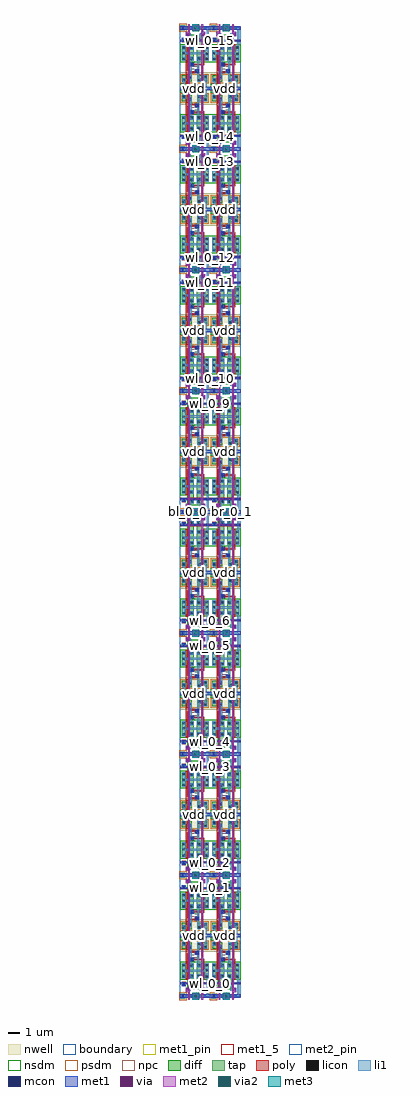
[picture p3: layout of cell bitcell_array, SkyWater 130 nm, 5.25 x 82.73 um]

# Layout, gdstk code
import gdstk
lib = gdstk.Library(unit=1e-6, precision=1e-09)
def R(c, l, rs):  # rectangles x0, y0, x1, y1
    for r in rs: c.add(gdstk.rectangle(r[:2], r[2:], *l))
nwell = (64, 20)
diff = (65, 20)
tap = (65, 44)
poly = (66, 20)
licon = (66, 44)
li1 = (67, 20)
mcon = (67, 44)
met1_5 = (68, 5)
met1_pin = (68, 16)
met1 = (68, 20)
via = (68, 44)
met2_pin = (69, 16)
met2 = (69, 20)
via2 = (69, 44)
met3 = (70, 20)
nsdm = (93, 44)
psdm = (94, 20)
npc = (95, 20)
boundary = (235, 4)

cell_1rw = lib.new_cell('cell_1rw')
R(cell_1rw, nwell, [(0,3.76,2.6,5.58)])
R(cell_1rw, diff, [(0.76,0.7,1.18,1.53), (1.45,0.7,1.87,1.53), (0.18,1.53,1.18,2.79), (1.45,1.53,2.45,2.79), (0.18,4.04,1.03,4.59), (1.51,4.04,2.36,4.59)])
R(cell_1rw, tap, [(0.07,-0.2,0.48,0.21), (0.18,4.86,0.71,5.39)])
R(cell_1rw, poly, [(0.18,0.86,0.51,1.04), (0,1.04,2.6,1.19), (0.53,1.4,0.68,3.68), (1.95,1.4,2.1,3.03), (0.9,2.96,1.23,3.03), (0.9,3.03,2.1,3.18), (0.9,3.18,1.23,3.29), (1.86,3.18,2.01,4.72), (1.32,3.5,1.65,3.68), (0.53,3.68,1.65,3.83), (0.53,3.83,0.68,4.72)])
R(cell_1rw, licon, [(0.19,-0.08,0.36,0.09), (0.93,0.77,1.1,0.94), (1.53,0.78,1.7,0.95), (0.26,0.94,0.43,1.11), (0.26,1.61,0.43,1.78), (0.93,1.61,1.1,1.78), (1.53,1.61,1.7,1.78), (2.2,1.61,2.37,1.78), (0.26,2.09,0.43,2.26), (2.2,2.12,2.37,2.29), (0.26,2.54,0.43,2.71), (0.93,2.54,1.1,2.71), (1.53,2.54,1.7,2.71), (2.2,2.54,2.37,2.71), (0.98,3.04,1.15,3.21), (1.4,3.58,1.57,3.75), (0.78,4.12,0.95,4.29), (2.11,4.12,2.28,4.29), (0.26,4.34,0.43,4.51), (1.59,4.34,1.76,4.51), (0.36,5.04,0.53,5.21)])
R(cell_1rw, li1, [(0.11,-0.16,0.44,-0.08), (0,-0.08,2.6,0.09), (0.11,0.09,0.44,0.17), (2.28,0.09,2.45,1.53), (0.6,0.44,0.94,0.61), (1.7,0.44,2.1,0.61), (0.77,0.61,0.94,0.7), (1.7,0.61,1.87,0.7), (0.77,0.7,1.18,1.02), (1.45,0.7,1.87,1.03), (0.18,0.86,0.51,1.19), (0.18,1.53,0.51,2.08), (0.85,1.53,1.18,1.86), (1.45,1.53,1.78,1.86), (2.12,1.53,2.45,2.08), (0.18,2.08,2.45,2.25), (0.18,2.25,0.51,2.79), (2.12,2.25,2.45,2.79), (0.85,2.46,1.18,2.79), (1.45,2.46,1.78,2.79), (0.85,2.79,1.02,2.96), (1.51,2.79,1.68,3.5), (0.85,2.96,1.23,3.29), (0.85,3.29,1.02,4.04), (1.32,3.5,1.68,3.83), (1.51,3.83,1.68,4.26), (0.7,4.04,1.03,4.37), (2.03,4.04,2.36,4.37), (0.18,4.26,0.51,4.59), (1.51,4.26,1.84,4.59), (2.11,4.37,2.28,5.04), (0.28,4.59,0.45,4.96), (0.28,4.96,0.61,5.04), (0,5.04,2.6,5.21), (0.28,5.21,0.61,5.29)])
R(cell_1rw, mcon, [(0.19,-0.08,0.36,0.09), (1.27,-0.08,1.44,0.09), (0.6,0.44,0.77,0.61), (1.93,0.44,2.1,0.61), (0.26,0.94,0.43,1.11), (0.98,3.04,1.15,3.21), (1.4,3.58,1.57,3.75), (0.36,5.04,0.53,5.21), (1.27,5.04,1.44,5.21)])
R(cell_1rw, met1_5, [(1.02,3.08,1.13,3.19), (1.43,3.61,1.54,3.72)])
R(cell_1rw, met1_pin, [(0.22,-0.04,0.35,0.07), (0.28,0.96,0.41,1.07), (0.38,5.09,0.51,5.2)])
R(cell_1rw, met1, [(0,-0.14,2.6,0.15), (0,-0.14,2.6,0.15), (0.51,0.35,0.86,0.7), (1.84,0.35,2.19,0.7), (0.18,0.86,0.51,1.01), (0.2,1.01,0.49,1.17), (0.2,1.01,0.49,1.17), (0.92,2.98,1.21,3.27), (1.34,3.52,1.63,3.81), (0,4.98,2.6,5.27), (0,4.98,2.6,5.27)])
R(cell_1rw, via, [(1.275,-0.065,1.425,0.085), (0.61,0.45,0.76,0.6), (1.94,0.45,2.09,0.6), (1.275,5.055,1.425,5.205)])
R(cell_1rw, met2_pin, [(0.74,0.2,0.83,0.31), (1.87,0.21,1.96,0.32)])
R(cell_1rw, met2, [(0.72,-0.3,0.86,0.35), (0.72,-0.3,0.86,0.35), (1.84,-0.3,1.98,0.35), (1.84,-0.3,1.98,0.35), (1.13,-0.21,1.56,0.22), (0.51,0.35,0.86,0.7), (1.84,0.35,2.19,0.7), (0.72,0.7,0.86,5.58), (1.84,0.7,1.98,5.6), (1.13,4.91,1.56,5.34)])
R(cell_1rw, via2, [(1.245,-0.095,1.445,0.105), (1.245,5.025,1.445,5.225)])
R(cell_1rw, met3, [(1.05,-0.3,1.65,0.3), (1.05,4.82,1.65,5.42)])
R(cell_1rw, nsdm, [(0.635,0.575,1.995,1.405), (0.055,1.405,2.575,2.915), (0.055,4.735,0.835,5.515)])
R(cell_1rw, psdm, [(-0.055,-0.325,0.605,0.335), (0.055,3.915,2.485,4.715)])
R(cell_1rw, npc, [(0.16,0.84,0.53,1.21), (0.88,2.94,1.25,3.26), (0.88,3.26,1.57,3.31), (0.98,3.31,1.57,3.48), (0.98,3.48,1.67,3.53), (1.3,3.53,1.67,3.85)])
R(cell_1rw, boundary, [(0,0,2.6,5.13)])
cell_1rw.add(gdstk.Label('Q_bar', (1.485,3.665), layer=68, texttype=5))
cell_1rw.add(gdstk.Label('Q', (1.075,3.135), layer=68, texttype=5))
cell_1rw.add(gdstk.Label('bl', (0.785,0.255), layer=69, texttype=16))
cell_1rw.add(gdstk.Label('br', (1.915,0.265), layer=69, texttype=16))
cell_1rw.add(gdstk.Label('wl', (0.345,1.015), layer=68, texttype=16))
cell_1rw.add(gdstk.Label('vdd', (0.445,5.145), layer=68, texttype=16))
cell_1rw.add(gdstk.Label('gnd', (0.285,0.015), layer=68, texttype=16))
cell_1rw.add(gdstk.Label('bl', (0.79,0.025), layer=69, texttype=20))
cell_1rw.add(gdstk.Label('br', (1.91,0.025), layer=69, texttype=20))
cell_1rw.add(gdstk.Label('wl', (0.345,1.09), layer=68, texttype=20))
cell_1rw.add(gdstk.Label('vdd', (1.3,5.125), layer=68, texttype=20))
cell_1rw.add(gdstk.Label('gnd', (1.3,0.005), layer=68, texttype=20))

bitcell_array = lib.new_cell('bitcell_array')
R(bitcell_array, met1, [(0,-0.14,2.6,0.15), (2.6,-0.14,5.2,0.15), (0,1.01,5.2,1.17), (0,4.98,2.6,5.27), (2.6,4.98,5.2,5.27), (0,4.99,2.6,5.28), (2.6,4.99,5.2,5.28), (0,9.09,5.2,9.25), (0,10.11,2.6,10.4), (2.6,10.11,5.2,10.4), (0,10.12,2.6,10.41), (2.6,10.12,5.2,10.41), (0,11.27,5.2,11.43), (0,15.24,2.6,15.53), (2.6,15.24,5.2,15.53), (0,15.25,2.6,15.54), (2.6,15.25,5.2,15.54), (0,19.35,5.2,19.51), (0,20.37,2.6,20.66), (2.6,20.37,5.2,20.66), (0,20.38,2.6,20.67), (2.6,20.38,5.2,20.67), (0,21.53,5.2,21.69), (0,25.5,2.6,25.79), (2.6,25.5,5.2,25.79), (0,25.51,2.6,25.8), (2.6,25.51,5.2,25.8), (0,29.61,5.2,29.77), (0,30.63,2.6,30.92), (2.6,30.63,5.2,30.92), (0,30.64,2.6,30.93), (2.6,30.64,5.2,30.93), (0,31.79,5.2,31.95), (0,35.76,2.6,36.05), (2.6,35.76,5.2,36.05), (0,35.77,2.6,36.06), (2.6,35.77,5.2,36.06), (0,39.87,5.2,40.03), (0,40.89,2.6,41.18), (2.6,40.89,5.2,41.18), (0,40.9,2.6,41.19), (2.6,40.9,5.2,41.19), (0,42.05,5.2,42.21), (0,46.02,2.6,46.31), (2.6,46.02,5.2,46.31), (0,46.03,2.6,46.32), (2.6,46.03,5.2,46.32), (0,50.13,5.2,50.29), (0,51.15,2.6,51.44), (2.6,51.15,5.2,51.44), (0,51.16,2.6,51.45), (2.6,51.16,5.2,51.45), (0,52.31,5.2,52.47), (0,56.28,2.6,56.57), (2.6,56.28,5.2,56.57), (0,56.29,2.6,56.58), (2.6,56.29,5.2,56.58), (0,60.39,5.2,60.55), (0,61.41,2.6,61.7), (2.6,61.41,5.2,61.7), (0,61.42,2.6,61.71), (2.6,61.42,5.2,61.71), (0,62.57,5.2,62.73), (0,66.54,2.6,66.83), (2.6,66.54,5.2,66.83), (0,66.55,2.6,66.84), (2.6,66.55,5.2,66.84), (0,70.65,5.2,70.81), (0,71.67,2.6,71.96), (2.6,71.67,5.2,71.96), (0,71.68,2.6,71.97), (2.6,71.68,5.2,71.97), (0,72.83,5.2,72.99), (0,76.8,2.6,77.09), (2.6,76.8,5.2,77.09), (0,76.81,2.6,77.1), (2.6,76.81,5.2,77.1), (0,80.91,5.2,81.07), (0,81.93,2.6,82.22), (2.6,81.93,5.2,82.22)])
R(bitcell_array, met2, [(0.72,0,0.86,82.08), (1.84,0,1.98,82.08), (3.32,0,3.46,82.08), (4.44,0,4.58,82.08)])
R(bitcell_array, boundary, [(0,0,5.2,82.08)])
bitcell_array.add(gdstk.Reference(cell_1rw, (0,0)))
bitcell_array.add(gdstk.Reference(cell_1rw, (0,10.26), x_reflection=True))
bitcell_array.add(gdstk.Reference(cell_1rw, (0,10.26)))
bitcell_array.add(gdstk.Reference(cell_1rw, (0,20.52), x_reflection=True))
bitcell_array.add(gdstk.Reference(cell_1rw, (0,20.52)))
bitcell_array.add(gdstk.Reference(cell_1rw, (0,30.78), x_reflection=True))
bitcell_array.add(gdstk.Reference(cell_1rw, (0,30.78)))
bitcell_array.add(gdstk.Reference(cell_1rw, (0,41.04), x_reflection=True))
bitcell_array.add(gdstk.Reference(cell_1rw, (0,41.04)))
bitcell_array.add(gdstk.Reference(cell_1rw, (0,51.3), x_reflection=True))
bitcell_array.add(gdstk.Reference(cell_1rw, (0,51.3)))
bitcell_array.add(gdstk.Reference(cell_1rw, (0,61.56), x_reflection=True))
bitcell_array.add(gdstk.Reference(cell_1rw, (0,61.56)))
bitcell_array.add(gdstk.Reference(cell_1rw, (0,71.82), x_reflection=True))
bitcell_array.add(gdstk.Reference(cell_1rw, (0,71.82)))
bitcell_array.add(gdstk.Reference(cell_1rw, (0,82.08), x_reflection=True))
bitcell_array.add(gdstk.Reference(cell_1rw, (2.6,0)))
bitcell_array.add(gdstk.Reference(cell_1rw, (2.6,10.26), x_reflection=True))
bitcell_array.add(gdstk.Reference(cell_1rw, (2.6,10.26)))
bitcell_array.add(gdstk.Reference(cell_1rw, (2.6,20.52), x_reflection=True))
bitcell_array.add(gdstk.Reference(cell_1rw, (2.6,20.52)))
bitcell_array.add(gdstk.Reference(cell_1rw, (2.6,30.78), x_reflection=True))
bitcell_array.add(gdstk.Reference(cell_1rw, (2.6,30.78)))
bitcell_array.add(gdstk.Reference(cell_1rw, (2.6,41.04), x_reflection=True))
bitcell_array.add(gdstk.Reference(cell_1rw, (2.6,41.04)))
bitcell_array.add(gdstk.Reference(cell_1rw, (2.6,51.3), x_reflection=True))
bitcell_array.add(gdstk.Reference(cell_1rw, (2.6,51.3)))
bitcell_array.add(gdstk.Reference(cell_1rw, (2.6,61.56), x_reflection=True))
bitcell_array.add(gdstk.Reference(cell_1rw, (2.6,61.56)))
bitcell_array.add(gdstk.Reference(cell_1rw, (2.6,71.82), x_reflection=True))
bitcell_array.add(gdstk.Reference(cell_1rw, (2.6,71.82)))
bitcell_array.add(gdstk.Reference(cell_1rw, (2.6,82.08), x_reflection=True))
bitcell_array.add(gdstk.Label('bl_0_0', (0.79,41.04), layer=69, texttype=20))
bitcell_array.add(gdstk.Label('br_0_0', (1.91,41.04), layer=69, texttype=20))
bitcell_array.add(gdstk.Label('bl_0_1', (3.39,41.04), layer=69, texttype=20))
bitcell_array.add(gdstk.Label('br_0_1', (4.51,41.04), layer=69, texttype=20))
bitcell_array.add(gdstk.Label('wl_0_0', (2.6,1.09), layer=68, texttype=20))
bitcell_array.add(gdstk.Label('wl_0_1', (2.6,9.17), layer=68, texttype=20))
bitcell_array.add(gdstk.Label('wl_0_2', (2.6,11.35), layer=68, texttype=20))
bitcell_array.add(gdstk.Label('wl_0_3', (2.6,19.43), layer=68, texttype=20))
bitcell_array.add(gdstk.Label('wl_0_4', (2.6,21.61), layer=68, texttype=20))
bitcell_array.add(gdstk.Label('wl_0_5', (2.6,29.69), layer=68, texttype=20))
bitcell_array.add(gdstk.Label('wl_0_6', (2.6,31.87), layer=68, texttype=20))
bitcell_array.add(gdstk.Label('wl_0_7', (2.6,39.95), layer=68, texttype=20))
bitcell_array.add(gdstk.Label('wl_0_8', (2.6,42.13), layer=68, texttype=20))
bitcell_array.add(gdstk.Label('wl_0_9', (2.6,50.21), layer=68, texttype=20))
bitcell_array.add(gdstk.Label('wl_0_10', (2.6,52.39), layer=68, texttype=20))
bitcell_array.add(gdstk.Label('wl_0_11', (2.6,60.47), layer=68, texttype=20))
bitcell_array.add(gdstk.Label('wl_0_12', (2.6,62.65), layer=68, texttype=20))
bitcell_array.add(gdstk.Label('wl_0_13', (2.6,70.73), layer=68, texttype=20))
bitcell_array.add(gdstk.Label('wl_0_14', (2.6,72.91), layer=68, texttype=20))
bitcell_array.add(gdstk.Label('wl_0_15', (2.6,80.99), layer=68, texttype=20))
bitcell_array.add(gdstk.Label('vdd', (1.3,66.685), layer=68, texttype=20))
bitcell_array.add(gdstk.Label('vdd', (3.9,15.395), layer=68, texttype=20))
bitcell_array.add(gdstk.Label('vdd', (3.9,76.955), layer=68, texttype=20))
bitcell_array.add(gdstk.Label('vdd', (1.3,35.915), layer=68, texttype=20))
bitcell_array.add(gdstk.Label('vdd', (1.3,25.645), layer=68, texttype=20))
bitcell_array.add(gdstk.Label('vdd', (3.9,25.645), layer=68, texttype=20))
bitcell_array.add(gdstk.Label('vdd', (1.3,56.425), layer=68, texttype=20))
bitcell_array.add(gdstk.Label('vdd', (1.3,56.435), layer=68, texttype=20))
bitcell_array.add(gdstk.Label('vdd', (3.9,56.425), layer=68, texttype=20))
bitcell_array.add(gdstk.Label('vdd', (1.3,35.905), layer=68, texttype=20))
bitcell_array.add(gdstk.Label('vdd', (1.3,15.385), layer=68, texttype=20))
bitcell_array.add(gdstk.Label('vdd', (1.3,46.165), layer=68, texttype=20))
bitcell_array.add(gdstk.Label('vdd', (3.9,56.435), layer=68, texttype=20))
bitcell_array.add(gdstk.Label('vdd', (1.3,15.395), layer=68, texttype=20))
bitcell_array.add(gdstk.Label('vdd', (1.3,76.945), layer=68, texttype=20))
bitcell_array.add(gdstk.Label('vdd', (3.9,35.915), layer=68, texttype=20))
bitcell_array.add(gdstk.Label('vdd', (1.3,5.135), layer=68, texttype=20))
bitcell_array.add(gdstk.Label('vdd', (3.9,66.695), layer=68, texttype=20))
bitcell_array.add(gdstk.Label('vdd', (3.9,66.685), layer=68, texttype=20))
bitcell_array.add(gdstk.Label('vdd', (3.9,5.135), layer=68, texttype=20))
bitcell_array.add(gdstk.Label('vdd', (3.9,25.655), layer=68, texttype=20))
bitcell_array.add(gdstk.Label('vdd', (3.9,46.175), layer=68, texttype=20))
bitcell_array.add(gdstk.Label('vdd', (3.9,46.165), layer=68, texttype=20))
bitcell_array.add(gdstk.Label('vdd', (1.3,25.655), layer=68, texttype=20))
bitcell_array.add(gdstk.Label('vdd', (3.9,76.945), layer=68, texttype=20))
bitcell_array.add(gdstk.Label('vdd', (3.9,15.385), layer=68, texttype=20))
bitcell_array.add(gdstk.Label('vdd', (1.3,46.175), layer=68, texttype=20))
bitcell_array.add(gdstk.Label('vdd', (1.3,5.125), layer=68, texttype=20))
bitcell_array.add(gdstk.Label('vdd', (1.3,66.695), layer=68, texttype=20))
bitcell_array.add(gdstk.Label('vdd', (3.9,35.905), layer=68, texttype=20))
bitcell_array.add(gdstk.Label('vdd', (1.3,76.955), layer=68, texttype=20))
bitcell_array.add(gdstk.Label('vdd', (3.9,5.125), layer=68, texttype=20))
bitcell_array.add(gdstk.Label('gnd', (1.3,20.515), layer=68, texttype=20))
bitcell_array.add(gdstk.Label('gnd', (3.9,61.555), layer=68, texttype=20))
bitcell_array.add(gdstk.Label('gnd', (3.9,51.295), layer=68, texttype=20))
bitcell_array.add(gdstk.Label('gnd', (1.3,41.035), layer=68, texttype=20))
bitcell_array.add(gdstk.Label('gnd', (3.9,30.775), layer=68, texttype=20))
bitcell_array.add(gdstk.Label('gnd', (1.3,0.005), layer=68, texttype=20))
bitcell_array.add(gdstk.Label('gnd', (3.9,20.525), layer=68, texttype=20))
bitcell_array.add(gdstk.Label('gnd', (1.3,10.265), layer=68, texttype=20))
bitcell_array.add(gdstk.Label('gnd', (3.9,0.005), layer=68, texttype=20))
bitcell_array.add(gdstk.Label('gnd', (3.9,82.075), layer=68, texttype=20))
bitcell_array.add(gdstk.Label('gnd', (1.3,10.255), layer=68, texttype=20))
bitcell_array.add(gdstk.Label('gnd', (1.3,30.785), layer=68, texttype=20))
bitcell_array.add(gdstk.Label('gnd', (1.3,71.825), layer=68, texttype=20))
bitcell_array.add(gdstk.Label('gnd', (3.9,20.515), layer=68, texttype=20))
bitcell_array.add(gdstk.Label('gnd', (3.9,61.565), layer=68, texttype=20))
bitcell_array.add(gdstk.Label('gnd', (1.3,30.775), layer=68, texttype=20))
bitcell_array.add(gdstk.Label('gnd', (3.9,41.045), layer=68, texttype=20))
bitcell_array.add(gdstk.Label('gnd', (1.3,20.525), layer=68, texttype=20))
bitcell_array.add(gdstk.Label('gnd', (3.9,10.255), layer=68, texttype=20))
bitcell_array.add(gdstk.Label('gnd', (1.3,71.815), layer=68, texttype=20))
bitcell_array.add(gdstk.Label('gnd', (3.9,30.785), layer=68, texttype=20))
bitcell_array.add(gdstk.Label('gnd', (1.3,51.305), layer=68, texttype=20))
bitcell_array.add(gdstk.Label('gnd', (3.9,71.815), layer=68, texttype=20))
bitcell_array.add(gdstk.Label('gnd', (1.3,61.555), layer=68, texttype=20))
bitcell_array.add(gdstk.Label('gnd', (1.3,41.045), layer=68, texttype=20))
bitcell_array.add(gdstk.Label('gnd', (1.3,82.075), layer=68, texttype=20))
bitcell_array.add(gdstk.Label('gnd', (1.3,51.295), layer=68, texttype=20))
bitcell_array.add(gdstk.Label('gnd', (3.9,41.035), layer=68, texttype=20))
bitcell_array.add(gdstk.Label('gnd', (3.9,71.825), layer=68, texttype=20))
bitcell_array.add(gdstk.Label('gnd', (1.3,61.565), layer=68, texttype=20))
bitcell_array.add(gdstk.Label('gnd', (3.9,10.265), layer=68, texttype=20))
bitcell_array.add(gdstk.Label('gnd', (3.9,51.305), layer=68, texttype=20))

lib.write_gds('bitcell_array.gds')
